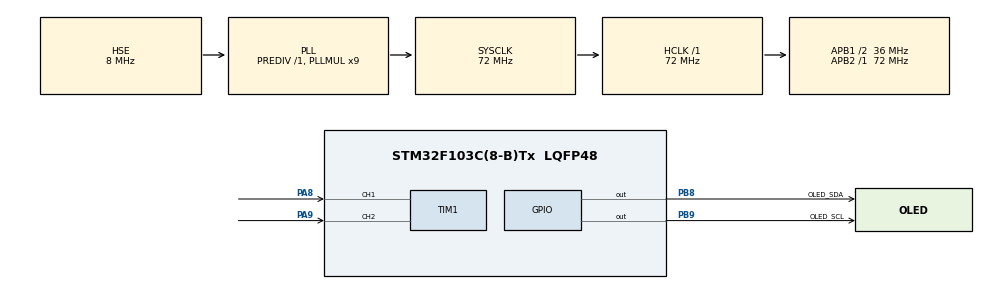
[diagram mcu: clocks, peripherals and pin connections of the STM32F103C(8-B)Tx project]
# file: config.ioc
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Mcu.Family=STM32F1
Mcu.Name=STM32F103C(8-B)Tx
Mcu.Package=LQFP48
NVIC.PriorityGroup=NVIC_PRIORITYGROUP_4
PA13.Mode=Serial_Wire
PA13.Signal=SYS_JTMS-SWDIO
PA14.Mode=Serial_Wire
PA14.Signal=SYS_JTCK-SWCLK
PA8.Signal=S_TIM1_CH1
PA9.Signal=S_TIM1_CH2
PB8.GPIO_Label=OLED_SDA
PB8.GPIO_ModeDefaultOutputPP=GPIO_MODE_OUTPUT_OD
PB8.GPIO_PuPd=GPIO_NOPULL
PB8.GPIO_Speed=GPIO_SPEED_FREQ_HIGH
PB8.PinState=GPIO_PIN_SET
PB8.Signal=GPIO_Output
PB9.GPIO_Label=OLED_SCL
PB9.GPIO_ModeDefaultOutputPP=GPIO_MODE_OUTPUT_OD
PB9.GPIO_PuPd=GPIO_NOPULL
PB9.GPIO_Speed=GPIO_SPEED_FREQ_HIGH
PB9.PinState=GPIO_PIN_SET
PB9.Signal=GPIO_Output
PD0-OSC_IN.Mode=HSE-External-Oscillator
PD0-OSC_IN.Signal=RCC_OSC_IN
PD1-OSC_OUT.Mode=HSE-External-Oscillator
PD1-OSC_OUT.Signal=RCC_OSC_OUT
ProjectManager.HeapSize=0x200
ProjectManager.StackSize=0x400
ProjectManager.TargetToolchain=CMake
RCC.AHBFreq_Value=72000000
RCC.APB1CLKDivider=RCC_HCLK_DIV2
RCC.APB1Freq_Value=36000000
RCC.APB1TimFreq_Value=72000000
RCC.APB2Freq_Value=72000000
RCC.APB2TimFreq_Value=72000000
RCC.HCLKFreq_Value=72000000
RCC.PLLMUL=RCC_PLL_MUL9
RCC.PLLSourceVirtual=RCC_PLLSOURCE_HSE
RCC.SYSCLKFreq_VALUE=72000000
RCC.SYSCLKSource=RCC_SYSCLKSOURCE_PLLCLK
RCC.USBFreq_Value=72000000
SH.S_TIM1_CH1.0=TIM1_CH1,Encoder_Interface
SH.S_TIM1_CH2.0=TIM1_CH2,Encoder_Interface
TIM1.EncoderMode=TIM_ENCODERMODE_TI12
board=custom

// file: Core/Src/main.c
/* USER CODE BEGIN Header */
/**
  ******************************************************************************
  * @file           : main.c
  * @brief          : Main program body
  ******************************************************************************
  * @attention
  *
  * Copyright (c) 2026 STMicroelectronics.
  * All rights reserved.
  *
  * This software is licensed under terms that can be found in the LICENSE file
  * in the root directory of this software component.
  * If no LICENSE file comes with this software, it is provided AS-IS.
  *
  ******************************************************************************
  */
/* USER CODE END Header */
#include "main.h"
#include "stm32f1xx_hal_tim.h"
#include "tim.h"
#include "gpio.h"

/* USER CODE BEGIN Includes */
#include "OLED.h"
#include <stdint.h>
/* USER CODE END Includes */

/* USER CODE BEGIN PV */
int16_t EncoderCount = 0;
/* USER CODE END PV */

void SystemClock_Config(void);

/* USER CODE BEGIN 0 */
int16_t GetEncoderCounts(void)
{
  return __HAL_TIM_GET_COUNTER(&htim1);
}
/* USER CODE END 0 */

int main(void)
{

  /* MCU Configuration--------------------------------------------------------*/

  /* Reset of all peripherals, Initializes the Flash interface and the Systick. */
  HAL_Init();

  /* Configure the system clock */
  SystemClock_Config();

  /* Initialize all configured peripherals */
  MX_GPIO_Init();
  MX_TIM1_Init();
  /* USER CODE BEGIN 2 */
  OLED_Init();
  OLED_Clear();

  OLED_ShowString(1, 1, "Encoder Counts:");
  OLED_ShowString(3, 1, "Encoder Speed:");
  OLED_ShowString(4, 12, "/s");

  HAL_TIM_Encoder_Start(&htim1, TIM_CHANNEL_ALL);

  /* USER CODE END 2 */

  /* Infinite loop */
  /* USER CODE BEGIN WHILE */
  while (1)
  {
    OLED_ShowSignedNum(2, 3, GetEncoderCounts(), 6);
    OLED_ShowSignedNum(4, 3, GetEncoderCounts()-EncoderCount, 6);
    EncoderCount = GetEncoderCounts();
    HAL_Delay(1000);
    /* USER CODE END WHILE */

  }
}

void SystemClock_Config(void)
{
  RCC_OscInitTypeDef RCC_OscInitStruct = {0};
  RCC_ClkInitTypeDef RCC_ClkInitStruct = {0};

  /** Initializes the RCC Oscillators according to the specified parameters
  * in the RCC_OscInitTypeDef structure.
  */
  RCC_OscInitStruct.OscillatorType = RCC_OSCILLATORTYPE_HSE;
  RCC_OscInitStruct.HSEState = RCC_HSE_ON;
  RCC_OscInitStruct.HSEPredivValue = RCC_HSE_PREDIV_DIV1;
  RCC_OscInitStruct.HSIState = RCC_HSI_ON;
  RCC_OscInitStruct.PLL.PLLState = RCC_PLL_ON;
  RCC_OscInitStruct.PLL.PLLSource = RCC_PLLSOURCE_HSE;
  RCC_OscInitStruct.PLL.PLLMUL = RCC_PLL_MUL9;
  if (HAL_RCC_OscConfig(&RCC_OscInitStruct) != HAL_OK)
  {
    Error_Handler();
  }

  /** Initializes the CPU, AHB and APB buses clocks
  */
  RCC_ClkInitStruct.ClockType = RCC_CLOCKTYPE_HCLK|RCC_CLOCKTYPE_SYSCLK
                              |RCC_CLOCKTYPE_PCLK1|RCC_CLOCKTYPE_PCLK2;
  RCC_ClkInitStruct.SYSCLKSource = RCC_SYSCLKSOURCE_PLLCLK;
  RCC_ClkInitStruct.AHBCLKDivider = RCC_SYSCLK_DIV1;
  RCC_ClkInitStruct.APB1CLKDivider = RCC_HCLK_DIV2;
  RCC_ClkInitStruct.APB2CLKDivider = RCC_HCLK_DIV1;

  if (HAL_RCC_ClockConfig(&RCC_ClkInitStruct, FLASH_LATENCY_2) != HAL_OK)
  {
    Error_Handler();
  }
}

void Error_Handler(void)
{
  __disable_irq();
  while (1)
  {
  }
}
